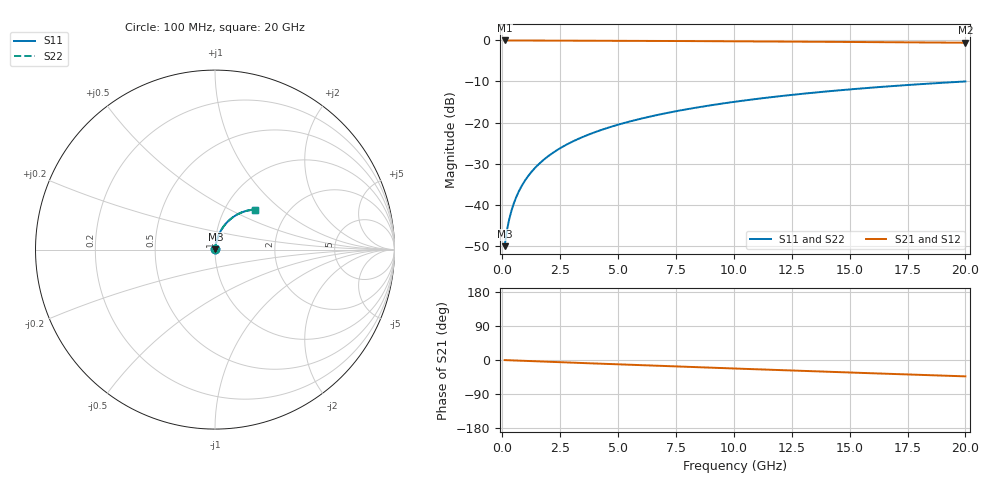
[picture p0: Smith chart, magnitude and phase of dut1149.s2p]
! Touchstone file exported from HFSS 2026.1.0
!  File:  C:/ffzhzh/LocalFiles/Ansys_Project_Files/temp_train_BSMRDL_1149_1783175618_55132.aedt
!  Generated:  10:34:55 PM Jul  4, 2026
!  Design:  BSMRDL
!  Project:  temp_train_BSMRDL_1149_1783175618_55132
! Variables:
!  h_bsmrdl = 5.82um
!  h_ox = 20um
!  h_rdl = 5um
!  h_sub = 80um
!  h_tmrdl = 5um
!  h_tsv = 80um
!  h_via = 3um
!  l_bsmrdl = 692.92um
!  l_sub = 1092.92um
!  l_tmrdl = 200um
!  m_sub = 200um
!  pitch = 39.86um
!  r_tsv = 6um
!  s_tmrdl = 10um
!  w_bsmrdl = 20.3um
!  w_sub = 500um
!  w_tmrdl = 12um
!  x_tsv_center1 = 206um
!  x_tsv_center2 = 919.22um
!  x_tsv_center3 = 1131.22um
!  x_tsv_center4 = 1844.44um
!  x_tsv_center5 = 2056.44um
!  x_tsv_center6 = 2769.66um
# GHz S MA R 50.000000
! Terminal data exported
! Port[1] = BSM_RDL1_1_T1
! Port[2] = BSM_RDL1_1_T2
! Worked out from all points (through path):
!   200 points, 100 MHz to 20 GHz, reference 50 ohm
!   highest |S21| = -0.02 dB at 100 MHz (marker M1); lowest = -0.6 dB at 20 GHz (marker M2)
!   group delay of S21, straight-line fit = 5.99 ps
!   lowest |S11| = -50.1 dB at 100 MHz (marker M3), VSWR 1.01, Z = 50.2 + j0.22 ohm
!   |S11| at or under -10 dB: start of sweep to 19.96 GHz
!   |S22| runs from -50.1 to -10.0 dB; largest |S21 - S12| = 2.6e-15
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0.1  0.003143 44.2  0.9978 -0.2  0.9978 -0.2  0.003143 44.2
! Gamma 0 0 0 0
! Port Impedance 50 0 50 0
0.2  0.004882 59.9  0.9976 -0.5  0.9976 -0.5  0.004882 59.9
0.3  0.006708 67.1  0.9974 -0.7  0.9974 -0.7  0.006708 67.1
0.4  0.008571 71.3  0.9974 -0.9  0.9974 -0.9  0.008571 71.3
0.5  0.01046 74.0  0.9973 -1.2  0.9973 -1.2  0.01046 74.0
0.6  0.01237 75.8  0.9972 -1.4  0.9972 -1.4  0.01237 75.8
0.8  0.01623 78.0  0.997 -1.9  0.997 -1.9  0.01623 78.0
1.1  0.02205 79.5  0.9967 -2.6  0.9967 -2.6  0.02205 79.5
1.3  0.02593 79.9  0.9965 -3.0  0.9965 -3.0  0.02593 79.9
1.5  0.0298 80.1  0.9962 -3.5  0.9962 -3.5  0.0298 80.1
1.8  0.03556 80.0  0.9958 -4.2  0.9958 -4.2  0.03556 80.0
2.1  0.04129 79.7  0.9953 -4.9  0.9953 -4.9  0.04129 79.7
2.7  0.05259 78.9  0.9942 -6.3  0.9942 -6.3  0.05259 78.9
3.5  0.06737 77.5  0.9925 -8.1  0.9925 -8.1  0.06737 77.5
4.2  0.08006 76.2  0.9909 -9.6  0.9909 -9.6  0.08006 76.2
5  0.09433 74.6  0.989 -11.4  0.989 -11.4  0.09433 74.6
6.8  0.1256 71.1  0.9844 -15.4  0.9844 -15.4  0.1256 71.1
8.3  0.1509 68.1  0.98 -18.7  0.98 -18.7  0.1509 68.1
10.1  0.1802 64.4  0.9743 -22.6  0.9743 -22.6  0.1802 64.4
13.4  0.2306 57.8  0.9626 -29.6  0.9626 -29.6  0.2306 57.8
16.7  0.2762 51.2  0.9498 -36.5  0.9498 -36.5  0.2762 51.2
20  0.3167 44.7  0.9366 -43.2  0.9366 -43.2  0.3167 44.7
